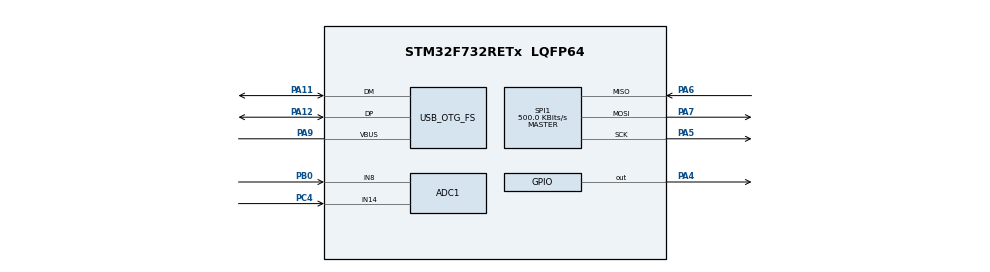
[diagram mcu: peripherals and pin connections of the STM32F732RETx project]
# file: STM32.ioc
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ADC1.Channel-0\#ChannelRegularConversion=ADC_CHANNEL_8
ADC1.NbrOfConversionFlag=1
ADC1.Rank-0\#ChannelRegularConversion=1
ADC1.SamplingTime-0\#ChannelRegularConversion=ADC_SAMPLETIME_3CYCLES
ADC1.master=1
CORTEX_M7.default_mode_Activation=1
Mcu.Family=STM32F7
Mcu.Name=STM32F732RETx
Mcu.Package=LQFP64
NVIC.OTG_FS_IRQn=true\:0\:0\:false\:false\:true\:false\:true\:true
NVIC.PriorityGroup=NVIC_PRIORITYGROUP_4
PA11.Mode=Device_Only
PA11.Signal=USB_OTG_FS_DM
PA12.Mode=Device_Only
PA12.Signal=USB_OTG_FS_DP
PA13.Mode=Serial_Wire
PA13.Signal=SYS_JTMS-SWDIO
PA14.Mode=Serial_Wire
PA14.Signal=SYS_JTCK-SWCLK
PA4.Signal=GPIO_Output
PA5.Mode=Full_Duplex_Master
PA5.Signal=SPI1_SCK
PA6.Mode=Full_Duplex_Master
PA6.Signal=SPI1_MISO
PA7.Mode=Full_Duplex_Master
PA7.Signal=SPI1_MOSI
PA9.Mode=Activate_VBUS
PA9.Signal=USB_OTG_FS_VBUS
PB0.Signal=ADCx_IN8
PC4.Signal=ADCx_IN14
PH0-OSC_IN.Mode=HSE-External-Oscillator
PH0-OSC_IN.Signal=RCC_OSC_IN
PH1-OSC_OUT.Mode=HSE-External-Oscillator
PH1-OSC_OUT.Signal=RCC_OSC_OUT
ProjectManager.HeapSize=0x200
ProjectManager.StackSize=0x400
ProjectManager.TargetToolchain=STM32CubeIDE
RCC.HSE_VALUE=16000000
RCC.HSI_VALUE=16000000
RCC.LSE_VALUE=32768
RCC.PLLM=8
RCC.PLLN=96
RCC.PLLQ=4
RCC.USBFreq_Value=48000000
RCC.VCOOutputFreq_Value=192000000
SH.ADCx_IN14.0=ADC1_IN14,IN14
SH.ADCx_IN8.0=ADC1_IN8,IN8
SPI1.BaudRatePrescaler=SPI_BAUDRATEPRESCALER_32
SPI1.CalculateBaudRate=500.0 KBits/s
SPI1.DataSize=SPI_DATASIZE_14BIT
SPI1.Direction=SPI_DIRECTION_2LINES
SPI1.Mode=SPI_MODE_MASTER
SPI1.VirtualType=VM_MASTER
USB_DEVICE.CLASS_NAME_FS=CDC
USB_DEVICE.VirtualMode-CDC_FS=Cdc
USB_DEVICE.VirtualModeFS=Cdc_FS
USB_OTG_FS.VirtualMode=Device_Only
VP_USB_DEVICE_VS_USB_DEVICE_CDC_FS.Mode=CDC_FS
board=custom

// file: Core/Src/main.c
/* USER CODE BEGIN Header */
/**
  ******************************************************************************
  * @file           : main.c
  * @brief          : Main program body
  ******************************************************************************
  * @attention
  *
  * Copyright (c) 2026 STMicroelectronics.
  * All rights reserved.
  *
  * This software is licensed under terms that can be found in the LICENSE file
  * in the root directory of this software component.
  * If no LICENSE file comes with this software, it is provided AS-IS.
  *
  ******************************************************************************
  */
/* USER CODE END Header */
#include "main.h"
#include "usb_device.h"

/* USER CODE BEGIN Includes */
#include <stdio.h>
#include "usbd_cdc_if.h"
/* USER CODE END Includes */

ADC_HandleTypeDef hadc1;

SPI_HandleTypeDef hspi1;

void SystemClock_Config(void);
static void MPU_Config(void);
static void MX_GPIO_Init(void);
static void MX_ADC1_Init(void);
static void MX_SPI1_Init(void);

int main(void)
{

  /* MPU Configuration--------------------------------------------------------*/
  MPU_Config();

  /* MCU Configuration--------------------------------------------------------*/

  /* Reset of all peripherals, Initializes the Flash interface and the Systick. */
  HAL_Init();

  /* Configure the system clock */
  SystemClock_Config();

  /* Initialize all configured peripherals */
  MX_GPIO_Init();
  MX_ADC1_Init();
  MX_SPI1_Init();
  MX_USB_DEVICE_Init();
  /* USER CODE BEGIN 2 */

  uint16_t throttle = 65535;
  uint16_t brake = 65535;
  uint16_t steering = 65535;

  uint16_t spi_tx = 0;
  uint16_t spi_rx = 0;

  ADC_ChannelConfTypeDef adcConfig = {0};

  char message[100];
  int length;

  /* USER CODE END 2 */

  /* Infinite loop */
  while (1)
  {

	  // Throttle from PB0 (ADC 8)
	  throttle = 65535;

	  adcConfig.Channel = ADC_CHANNEL_8;
	  adcConfig.Rank = ADC_REGULAR_RANK_1;
	  adcConfig.SamplingTime = ADC_SAMPLETIME_56CYCLES;

	  // Check if ADC1 selected the channel
	  if (HAL_ADC_ConfigChannel(&hadc1, &adcConfig) == HAL_OK)
	  {
		  // Measure voltage on the analog pin
		  if (HAL_ADC_Start(&hadc1) == HAL_OK)
		  {
			  /* wait 10ms for measurement */
			  if (HAL_ADC_PollForConversion(&hadc1, 10) == HAL_OK)
			  {
				  throttle = (uint16_t)HAL_ADC_GetValue(&hadc1);
			  }

			  // stop
			  HAL_ADC_Stop(&hadc1);

		  }
	  }

	  // Brake from PC4 (ADC 14)
	  brake = 65535;

	  adcConfig.Channel = ADC_CHANNEL_14;
	  adcConfig.Rank = ADC_REGULAR_RANK_1;
	  adcConfig.SamplingTime = ADC_SAMPLETIME_56CYCLES;

	  // Check if ADC1 selected the channel
	  if (HAL_ADC_ConfigChannel(&hadc1, &adcConfig) == HAL_OK)
	  {
		  // Measure voltage on the analog pin
		  if (HAL_ADC_Start(&hadc1) == HAL_OK)
		  {
			  /* wait 10ms for measurement */
			  if (HAL_ADC_PollForConversion(&hadc1, 10) == HAL_OK)
			  {
				  brake = (uint16_t)HAL_ADC_GetValue(&hadc1);
			  }

			  // stop
			  HAL_ADC_Stop(&hadc1);

		  }
	  }

	  // Steering wheel (SPI)
	  steering = 65535;

	  spi_tx = 0xFFFF;
	  spi_rx = 0;

	  // pull CS low to select the AS5047P chip
	  HAL_GPIO_WritePin(GPIOA, GPIO_PIN_4, GPIO_PIN_RESET);

	  // send the command to get the SPI message/frame
	  HAL_StatusTypeDef spiStatus = HAL_SPI_TransmitReceive(
	          &hspi1,
	          (uint8_t *)&spi_tx,
	          (uint8_t *)&spi_rx,
	          1,
	          100
	  );

	  /* pull CS high to finish command */
	  HAL_GPIO_WritePin(GPIOA, GPIO_PIN_4, GPIO_PIN_SET);

	  // if the SPI transfer worked
	  if (spiStatus == HAL_OK)
	      {
	          // send a blank message to flush the previous response
	          spi_tx = 0x0000;
	          spi_rx = 0;

	          // pull CS high
	          HAL_GPIO_WritePin(GPIOA, GPIO_PIN_4, GPIO_PIN_RESET);

	          // send clock pulses to receive the sensors response
	          spiStatus = HAL_SPI_TransmitReceive(
	              &hspi1,
	              (uint8_t *)&spi_tx,
	              (uint8_t *)&spi_rx,
	              1,
	              100
	          );

	          // pull CS low
	          HAL_GPIO_WritePin(GPIOA, GPIO_PIN_4, GPIO_PIN_SET);

	          // if the second message worked -> use the response
	          if (spiStatus == HAL_OK)
	          {
	              // we have to apply a bitwise and to only keep the lower 14 bits
	        	  // 16 bits is total including SPI message overhead
	              steering = spi_rx & 0x3FFF;
	          }
	      }

	  // Format data as text
	  // %u is placeholder if there isn't a valid number

	  length = snprintf(
	      message,
	      sizeof(message),
	      "Throttle=%u, Brake=%u, Steering=%u\r\n",
	      (unsigned int)throttle,
	      (unsigned int)brake,
	      (unsigned int)steering
	    );

	  // send text over USB

	  if (length > 0 && length < (int)sizeof(message))
	  {
		  // message is data - length is bytes to send
		  (void)CDC_Transmit_FS(
			(uint8_t *)message,
			(uint16_t)length
		  );
	  }

	  HAL_Delay(100);

  }
}

void SystemClock_Config(void)
{
  RCC_OscInitTypeDef RCC_OscInitStruct = {0};
  RCC_ClkInitTypeDef RCC_ClkInitStruct = {0};

  /** Configure the main internal regulator output voltage
  */
  __HAL_RCC_PWR_CLK_ENABLE();
  __HAL_PWR_VOLTAGESCALING_CONFIG(PWR_REGULATOR_VOLTAGE_SCALE3);

  /** Initializes the RCC Oscillators according to the specified parameters
  * in the RCC_OscInitTypeDef structure.
  */
  RCC_OscInitStruct.OscillatorType = RCC_OSCILLATORTYPE_HSI|RCC_OSCILLATORTYPE_HSE;
  RCC_OscInitStruct.HSEState = RCC_HSE_ON;
  RCC_OscInitStruct.HSIState = RCC_HSI_ON;
  RCC_OscInitStruct.HSICalibrationValue = RCC_HSICALIBRATION_DEFAULT;
  RCC_OscInitStruct.PLL.PLLState = RCC_PLL_ON;
  RCC_OscInitStruct.PLL.PLLSource = RCC_PLLSOURCE_HSE;
  RCC_OscInitStruct.PLL.PLLM = 8;
  RCC_OscInitStruct.PLL.PLLN = 96;
  RCC_OscInitStruct.PLL.PLLP = RCC_PLLP_DIV2;
  RCC_OscInitStruct.PLL.PLLQ = 4;
  if (HAL_RCC_OscConfig(&RCC_OscInitStruct) != HAL_OK)
  {
    Error_Handler();
  }

  /** Initializes the CPU, AHB and APB buses clocks
  */
  RCC_ClkInitStruct.ClockType = RCC_CLOCKTYPE_HCLK|RCC_CLOCKTYPE_SYSCLK
                              |RCC_CLOCKTYPE_PCLK1|RCC_CLOCKTYPE_PCLK2;
  RCC_ClkInitStruct.SYSCLKSource = RCC_SYSCLKSOURCE_HSI;
  RCC_ClkInitStruct.AHBCLKDivider = RCC_SYSCLK_DIV1;
  RCC_ClkInitStruct.APB1CLKDivider = RCC_HCLK_DIV1;
  RCC_ClkInitStruct.APB2CLKDivider = RCC_HCLK_DIV1;

  if (HAL_RCC_ClockConfig(&RCC_ClkInitStruct, FLASH_LATENCY_0) != HAL_OK)
  {
    Error_Handler();
  }
}

static void MX_ADC1_Init(void)
{

  ADC_ChannelConfTypeDef sConfig = {0};

  /** Configure the global features of the ADC (Clock, Resolution, Data Alignment and number of conversion)
  */
  hadc1.Instance = ADC1;
  hadc1.Init.ClockPrescaler = ADC_CLOCK_SYNC_PCLK_DIV2;
  hadc1.Init.Resolution = ADC_RESOLUTION_12B;
  hadc1.Init.ScanConvMode = ADC_SCAN_DISABLE;
  hadc1.Init.ContinuousConvMode = DISABLE;
  hadc1.Init.DiscontinuousConvMode = DISABLE;
  hadc1.Init.ExternalTrigConvEdge = ADC_EXTERNALTRIGCONVEDGE_NONE;
  hadc1.Init.ExternalTrigConv = ADC_SOFTWARE_START;
  hadc1.Init.DataAlign = ADC_DATAALIGN_RIGHT;
  hadc1.Init.NbrOfConversion = 1;
  hadc1.Init.DMAContinuousRequests = DISABLE;
  hadc1.Init.EOCSelection = ADC_EOC_SINGLE_CONV;
  if (HAL_ADC_Init(&hadc1) != HAL_OK)
  {
    Error_Handler();
  }

  /** Configure for the selected ADC regular channel its corresponding rank in the sequencer and its sample time.
  */
  sConfig.Channel = ADC_CHANNEL_8;
  sConfig.Rank = ADC_REGULAR_RANK_1;
  sConfig.SamplingTime = ADC_SAMPLETIME_56CYCLES;
  if (HAL_ADC_ConfigChannel(&hadc1, &sConfig) != HAL_OK)
  {
    Error_Handler();
  }

}

static void MX_SPI1_Init(void)
{

  /* SPI1 parameter configuration*/
  hspi1.Instance = SPI1;
  hspi1.Init.Mode = SPI_MODE_MASTER;
  hspi1.Init.Direction = SPI_DIRECTION_2LINES;
  hspi1.Init.DataSize = SPI_DATASIZE_16BIT;
  hspi1.Init.CLKPolarity = SPI_POLARITY_LOW;
  hspi1.Init.CLKPhase = SPI_PHASE_2EDGE;
  hspi1.Init.NSS = SPI_NSS_SOFT;
  hspi1.Init.BaudRatePrescaler = SPI_BAUDRATEPRESCALER_32;
  hspi1.Init.FirstBit = SPI_FIRSTBIT_MSB;
  hspi1.Init.TIMode = SPI_TIMODE_DISABLE;
  hspi1.Init.CRCCalculation = SPI_CRCCALCULATION_DISABLE;
  hspi1.Init.CRCPolynomial = 7;
  hspi1.Init.CRCLength = SPI_CRC_LENGTH_DATASIZE;
  hspi1.Init.NSSPMode = SPI_NSS_PULSE_ENABLE;
  if (HAL_SPI_Init(&hspi1) != HAL_OK)
  {
    Error_Handler();
  }

}

static void MX_GPIO_Init(void)
{
  GPIO_InitTypeDef GPIO_InitStruct = {0};

  /* GPIO Ports Clock Enable */
  __HAL_RCC_GPIOH_CLK_ENABLE();
  __HAL_RCC_GPIOA_CLK_ENABLE();
  __HAL_RCC_GPIOC_CLK_ENABLE();
  __HAL_RCC_GPIOB_CLK_ENABLE();

  /*Configure GPIO pin Output Level */
  HAL_GPIO_WritePin(GPIOA, GPIO_PIN_4, GPIO_PIN_SET);

  /*Configure GPIO pin : PA4 */
  GPIO_InitStruct.Pin = GPIO_PIN_4;
  GPIO_InitStruct.Mode = GPIO_MODE_OUTPUT_PP;
  GPIO_InitStruct.Pull = GPIO_NOPULL;
  GPIO_InitStruct.Speed = GPIO_SPEED_FREQ_LOW;
  HAL_GPIO_Init(GPIOA, &GPIO_InitStruct);

  /* USER CODE BEGIN MX_GPIO_Init_2 */

  GPIO_InitStruct.Pin = GPIO_PIN_0;
  GPIO_InitStruct.Mode = GPIO_MODE_ANALOG;
  GPIO_InitStruct.Pull = GPIO_NOPULL;
  HAL_GPIO_Init(GPIOB, &GPIO_InitStruct);

  GPIO_InitStruct.Pin = GPIO_PIN_4;
  GPIO_InitStruct.Mode = GPIO_MODE_ANALOG;
  GPIO_InitStruct.Pull = GPIO_NOPULL;
  HAL_GPIO_Init(GPIOC, &GPIO_InitStruct);

  /* USER CODE END MX_GPIO_Init_2 */
}

 /* MPU Configuration */

void MPU_Config(void)
{
  MPU_Region_InitTypeDef MPU_InitStruct = {0};

  /* Disables the MPU */
  HAL_MPU_Disable();

  /** Initializes and configures the Region and the memory to be protected
  */
  MPU_InitStruct.Enable = MPU_REGION_ENABLE;
  MPU_InitStruct.Number = MPU_REGION_NUMBER0;
  MPU_InitStruct.BaseAddress = 0x0;
  MPU_InitStruct.Size = MPU_REGION_SIZE_4GB;
  MPU_InitStruct.SubRegionDisable = 0x87;
  MPU_InitStruct.TypeExtField = MPU_TEX_LEVEL0;
  MPU_InitStruct.AccessPermission = MPU_REGION_NO_ACCESS;
  MPU_InitStruct.DisableExec = MPU_INSTRUCTION_ACCESS_DISABLE;
  MPU_InitStruct.IsShareable = MPU_ACCESS_SHAREABLE;
  MPU_InitStruct.IsCacheable = MPU_ACCESS_NOT_CACHEABLE;
  MPU_InitStruct.IsBufferable = MPU_ACCESS_NOT_BUFFERABLE;

  HAL_MPU_ConfigRegion(&MPU_InitStruct);
  /* Enables the MPU */
  HAL_MPU_Enable(MPU_PRIVILEGED_DEFAULT);

}

void Error_Handler(void)
{
  __disable_irq();
  while (1)
  {
  }
}
